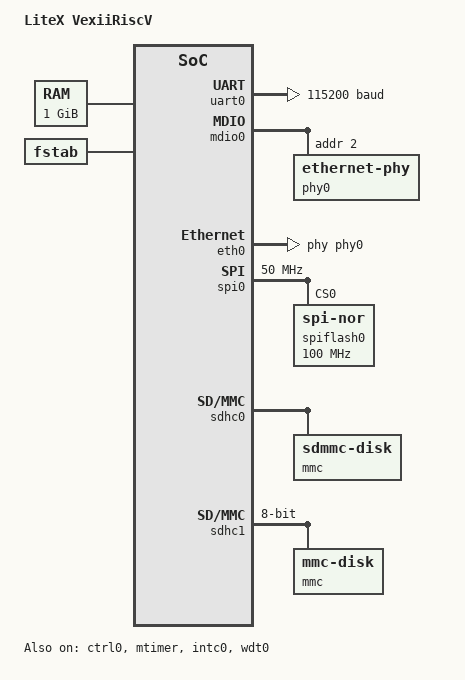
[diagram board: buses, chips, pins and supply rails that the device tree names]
/*
 * SPDX-FileCopyrightText: Copyright The Zephyr Project Contributors
 *
 * SPDX-License-Identifier: Apache-2.0
 */

/dts-v1/;

#include <mem.h>
#include <freq.h>

/ {
	#address-cells = <1>;
	#size-cells = <1>;

	model = "LiteX VexiiRiscV";
	compatible = "litex,vexiiriscv";
	chosen {
		zephyr,console = &uart0;
		zephyr,shell-uart = &uart0;
		zephyr,sram = &ram0;
		zephyr,flash-controller = &spiflash0;
		zephyr,flash = &spiflash0;
	};

	aliases {
		watchdog0 = &wdt0;
	};

	ram0: memory@40000000 {
		device_type = "memory";
		compatible = "mmio-sram";
		reg = <0x40000000 DT_SIZE_M(1024)>;
	};

	fstab {
		compatible = "zephyr,fstab";
		ffs1: ffs1 {
			compatible = "zephyr,fstab,fatfs";
			automount;
			disk-access;
			mount-point = "/SD:";
		};

		ffs2: ffs2 {
			compatible = "zephyr,fstab,fatfs";
			automount;
			disk-access;
			mount-point = "/SD2:";
		};
	};

	cpus {
		#address-cells = <1>;
		#size-cells = <0>;
		cpu0: cpu@0 {
			clock-frequency = <DT_FREQ_M(100)>;
			compatible = "litex,vexiiriscv-standard", "riscv";
			device_type = "cpu";
			reg = <0>;
			riscv,isa = "rv32imac_zicsr_zifencei";
			status = "okay";

			L0: interrupt-controller {
				#address-cells = <0>;
				#interrupt-cells = <0x00000001>;
				interrupt-controller;
				compatible = "riscv,cpu-intc";
				status = "okay";
			};
		};
	};
	soc {
		#address-cells = <1>;
		#size-cells = <1>;
		compatible = "litex,vexriscv";
		ranges;
		ctrl0: soc_controller@f0000000 {
			compatible = "litex,soc-controller";
			reg = <0xf0000000 0x4>,
				<0xf0000004 0x4>,
				<0xf0000008 0x4>;
			reg-names = "reset",
				"scratch",
				"bus_errors";
			status = "okay";
		};

		mtimer: timer@f001bff8 {
			compatible = "riscv,machine-timer";
			interrupts-extended = <&L0 7>;
			reg = <0xf001bff8 0x8 0xf0014000 0x8>;
			reg-names = "mtime", "mtimecmp";
			status = "okay";
		};

		lintc0: clint@f0010000 {
			compatible = "riscv,clint0";
			interrupts-extended = <&L0 3 &L0 7>;
			reg = <0xf0010000 0x10000>;
			reg-names = "control";
		};

		intc0: interrupt-controller@f0c00000 {
			compatible = "sifive,plic-1.0.0";
			reg = <0xf0c00000 0x400000>;
			#address-cells = <0>;
			#interrupt-cells = <2>;
			interrupt-controller;
			interrupts-extended = < &L0 11 &L0 9>;
			riscv,ndev = <32>;
			riscv,max-priority = <7>;
			status = "okay";
		};

		uart0: serial@f0000800 {
			compatible = "litex,uart";
			interrupt-parent = <&intc0>;
			interrupts = <1 10>;
			reg = <0xf0000800 0x4>,
				<0xf0000804 0x4>,
				<0xf0000808 0x4>,
				<0xf000080c 0x4>,
				<0xf0000810 0x4>,
				<0xf0000814 0x4>,
				<0xf0000818 0x4>,
				<0xf000081c 0x4>;
			reg-names = "rxtx",
				"txfull",
				"rxempty",
				"ev_status",
				"ev_pending",
				"ev_enable",
				"txempty",
				"rxfull";
			status = "okay";
			rx-fifo-rx-we;
			current-speed = <115200>;
		};

		mdio0: mdio@f0002804 {
			compatible = "litex,liteeth-mdio";
			reg = <0xf0002804 0x4>,
				<0xf0002808 0x4>;
			reg-names = "mdio_w",
				"mdio_r";
			#address-cells = <1>;
			#size-cells = <0>;
			status = "okay";

			phy0: ethernet-phy@2 {
				compatible = "ethernet-phy";
				reg = <0x2>;
				status = "okay";
			};
		};

		eth0: ethernet@f0003000 {
			compatible = "litex,liteeth";
			interrupt-parent = <&intc0>;
			interrupts = <3 1>;
			reg = <0xf0003000 0x4>,
				<0xf0003004 0x4>,
				<0xf0003008 0x4>,
				<0xf000300c 0x4>,
				<0xf0003010 0x4>,
				<0xf0003014 0x4>,
				<0xf0003018 0x4>,
				<0xf000301c 0x4>,
				<0xf0003020 0x4>,
				<0xf0003024 0x4>,
				<0xf0003028 0x4>,
				<0xf000302c 0x4>,
				<0xf0003030 0x4>,
				<0xf0003034 0x4>,
				<0xb0000000 0x1000>,
				<0xb0001000 0x1000>;
			reg-names = "rx_slot",
				"rx_length",
				"rx_errors",
				"rx_ev_status",
				"rx_ev_pending",
				"rx_ev_enable",
				"tx_start",
				"tx_ready",
				"tx_level",
				"tx_slot",
				"tx_length",
				"tx_ev_status",
				"tx_ev_pending",
				"tx_ev_enable",
				"rx_buffers",
				"tx_buffers";
			phy-handle = <&phy0>;
			local-mac-address = [10 e2 d5 00 00 02];
			status = "okay";
		};

		spi0: spi@0f0007800 {
			compatible = "litex,spi-litespi";
			interrupt-parent = <&intc0>;
			reg = <0xf0007800 0x4>,
				<0xf0007804 0x4>,
				<0xf0007808 0x4>,
				<0xf000780c 0x4>,
				<0xf0007810 0x4>,
				<0xf0007814 0x4>,
				<0xf0007818 0x4>,
				<0xf000781c 0x4>,
				<0xf0007820 0x4>,
				<0x20000000 0x4000000>;
			reg-names = "phy_clk_divisor",
				"mmap_dummy_bits",
				"master_cs",
				"master_phyconfig",
				"master_rxtx",
				"master_status",
				"master_ev_status",
				"master_ev_pending",
				"master_ev_enable",
				"flash_mmap";
			clock-frequency = <50000000>;
			interrupts = <6 1>;
			#address-cells = <1>;
			#size-cells = <0>;
			status = "okay";
			spiflash0: flash@0 {
				compatible = "jedec,spi-nor";
				reg = <0>;
				spi-max-frequency = <DT_FREQ_M(100)>;
				use-4b-addr-opcodes;
				use-fast-read;
				status = "okay";
			};
		};

		sdhc0: sdhc@f0005000 {
			compatible = "litex,litesdcard-sdhc";
			interrupt-parent = <&intc0>;
			reg = <0xf0005000 0x4>,
				<0xf0005004 0x4>,
				<0xf0005008 0x4>,
				<0xf000500c 0x4>,
				<0xf0005010 0x4>,
				<0xf0005014 0x4>,
				<0xf0005018 0x4>,
				<0xf000501c 0x4>,
				<0xf0005020 0x4>,
				<0xf0005024 0x4>,
				<0xf0005028 0x10>,
				<0xf0005038 0x4>,
				<0xf000503c 0x4>,
				<0xf0005040 0x4>,
				<0xf0005044 0x4>,
				<0xf0005048 0x8>,
				<0xf0005050 0x4>,
				<0xf0005054 0x4>,
				<0xf0005058 0x4>,
				<0xf000505c 0x4>,
				<0xf0005060 0x4>,
				<0xf0005064 0x8>,
				<0xf000506c 0x4>,
				<0xf0005070 0x4>,
				<0xf0005074 0x4>,
				<0xf0005078 0x4>,
				<0xf000507c 0x4>,
				<0xf0005080 0x4>,
				<0xf0005084 0x4>,
				<0xf0005088 0x4>;
			reg-names = "phy_card_detect",
				"phy_clocker_divider",
				"phy_init_initialize",
				"phy_cmdr_timeout",
				"phy_dataw_status",
				"phy_datar_timeout",
				"phy_settings",
				"core_cmd_argument",
				"core_cmd_command",
				"core_cmd_send",
				"core_cmd_response",
				"core_cmd_event",
				"core_data_event",
				"core_block_length",
				"core_block_count",
				"block2mem_dma_base",
				"block2mem_dma_length",
				"block2mem_dma_enable",
				"block2mem_dma_done",
				"block2mem_dma_loop",
				"block2mem_dma_offset",
				"mem2block_dma_base",
				"mem2block_dma_length",
				"mem2block_dma_enable",
				"mem2block_dma_done",
				"mem2block_dma_loop",
				"mem2block_dma_offset",
				"ev_status",
				"ev_pending",
				"ev_enable";
			interrupts = <4 1>;
			status = "okay";
			mmc {
				compatible = "zephyr,sdmmc-disk";
				status = "okay";
				disk-name = "SD";
			};
		};

		sdhc1: sdhc@f0005800 {
			compatible = "litex,litesdcard-sdhc";
			interrupt-parent = <&intc0>;
			reg = <0xf0005800 0x4>,
				<0xf0005804 0x4>,
				<0xf0005808 0x4>,
				<0xf000580c 0x4>,
				<0xf0005810 0x4>,
				<0xf0005814 0x4>,
				<0xf0005818 0x4>,
				<0xf000581c 0x4>,
				<0xf0005820 0x4>,
				<0xf0005824 0x4>,
				<0xf0005828 0x10>,
				<0xf0005838 0x4>,
				<0xf000583c 0x4>,
				<0xf0005840 0x4>,
				<0xf0005844 0x4>,
				<0xf0005848 0x8>,
				<0xf0005850 0x4>,
				<0xf0005854 0x4>,
				<0xf0005858 0x4>,
				<0xf000585c 0x4>,
				<0xf0005860 0x4>,
				<0xf0005864 0x8>,
				<0xf000586c 0x4>,
				<0xf0005870 0x4>,
				<0xf0005874 0x4>,
				<0xf0005878 0x4>,
				<0xf000587c 0x4>,
				<0xf0005880 0x4>,
				<0xf0005884 0x4>,
				<0xf0005888 0x4>;
			reg-names = "phy_card_detect",
				"phy_clocker_divider",
				"phy_init_initialize",
				"phy_cmdr_timeout",
				"phy_dataw_status",
				"phy_datar_timeout",
				"phy_settings",
				"core_cmd_argument",
				"core_cmd_command",
				"core_cmd_send",
				"core_cmd_response",
				"core_cmd_event",
				"core_data_event",
				"core_block_length",
				"core_block_count",
				"block2mem_dma_base",
				"block2mem_dma_length",
				"block2mem_dma_enable",
				"block2mem_dma_done",
				"block2mem_dma_loop",
				"block2mem_dma_offset",
				"mem2block_dma_base",
				"mem2block_dma_length",
				"mem2block_dma_enable",
				"mem2block_dma_done",
				"mem2block_dma_loop",
				"mem2block_dma_offset",
				"ev_status",
				"ev_pending",
				"ev_enable";
			interrupts = <5 1>;
			status = "okay";
			bus-width = <8>;
			mmc {
				compatible = "zephyr,mmc-disk";
				status = "okay";
				disk-name = "SD2";
			};
		};

		wdt0: watchdog@0f0001000 {
			compatible = "litex,watchdog";
			interrupt-parent = <&intc0>;
			reg = <0xf0001000 0x4>,
				<0xf0001004 0x4>,
				<0xf0001008 0x4>,
				<0xf000100c 0x4>,
				<0xf0001010 0x4>,
				<0xf0001014 0x4>;
			reg-names = "control",
				"cycles",
				"remaining",
				"ev_status",
				"ev_pending",
				"ev_enable";
			interrupts = <2 15>;
			status = "okay";
		};
	};
};
